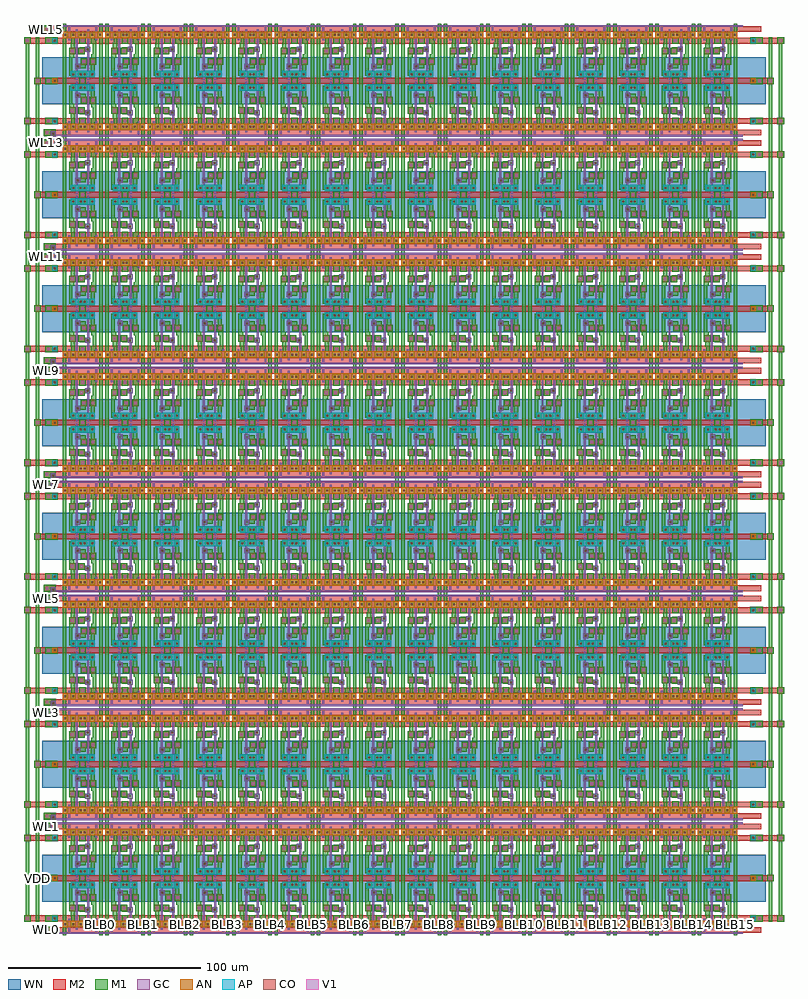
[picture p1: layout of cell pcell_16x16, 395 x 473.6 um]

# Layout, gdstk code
import gdstk
lib = gdstk.Library(unit=1e-6, precision=5e-08)
def R(c, l, rs):  # rectangles x0, y0, x1, y1
    for r in rs: c.add(gdstk.rectangle(r[:2], r[2:], *l))
def A(c, l, x, y, w, h, nx, ny, dx, dy):  # array of equal rectangles
    R(c, l, [(x+i*dx, y+j*dy, x+i*dx+w, y+j*dy+h) for i in range(nx) for j in range(ny)])
AP = (3, 1)
AN = (3, 2)
GC = (8, 1)
CO = (11, 0)
M1 = (13, 0)
V1 = (19, 0)
M2 = (20, 0)
WN = (140, 0)

fet_n = lib.new_cell('fet_n')
R(fet_n, AN, [(-3.3,-1.7,3.3,1.7)])
R(fet_n, CO, [(-2.5,-0.5,-1.5,0.5), (1.5,-0.5,2.5,0.5)])
R(fet_n, M1, [(-3.3,-1.3,-0.7,1.3), (0.7,-1.3,3.3,1.3)])
fet_n.add(gdstk.FlexPath([(0,-2.9),(0,2.9)], 1, ends="flush", simple_path=True, layer=8, datatype=1))  # GC

fet_p = lib.new_cell('fet_p')
R(fet_p, AP, [(-3.3,-1.7,3.3,1.7)])
R(fet_p, CO, [(-2.5,-0.5,-1.5,0.5), (1.5,-0.5,2.5,0.5)])
R(fet_p, M1, [(-3.3,-1.3,-0.7,1.3), (0.7,-1.3,3.3,1.3)])
fet_p.add(gdstk.FlexPath([(0,-2.9),(0,2.9)], 1, ends="flush", simple_path=True, layer=8, datatype=1))  # GC

via_1 = lib.new_cell('via_1')
R(via_1, M1, [(-1.7,-1.7,1.7,1.7)])
R(via_1, V1, [(-0.7,-0.7,0.7,0.7)])
R(via_1, M2, [(-1.7,-1.7,1.7,1.7)])

cont_g = lib.new_cell('cont_g')
R(cont_g, GC, [(-1.3,-1.3,1.3,1.3)])
R(cont_g, CO, [(-0.5,-0.5,0.5,0.5)])
R(cont_g, M1, [(-1.3,-1.3,1.3,1.3)])

pcell_core = lib.new_cell('pcell_core')
R(pcell_core, GC, [(0,-5.1,22,-4.1), (1.5,-5.1,2.5,-2.4), (15.5,-5.1,16.5,-2.4), (5.5,2.4,6.5,18), (11.5,2.4,12.5,18), (11.1,6.9,12.5,7.9), (5.5,15.9,6.9,16.9)])
R(pcell_core, M1, [(-1.3,-5.7,0.5,23.9), (17.5,-5.7,19.3,23.9), (3.1,-0.9,4.9,5.9), (8.1,-0.9,9.9,3.9), (13.1,-0.9,14.9,4.5), (14.9,1.3,15.3,2.7), (13.1,2.7,16.1,4.5), (14.3,2.7,16.1,11.9), (2.7,4.1,4.9,5.9), (2.7,4.1,4.5,11.9), (4.5,5.9,4.9,6.7), (7.5,6.5,9.3,9.3), (7.5,6.5,12.5,8.3), (10.1,8.3,10.3,8.7), (1.9,10.1,4.5,11.9), (1.9,10.1,3.7,21.3), (13.5,10.1,16.1,11.9), (13.5,10.1,15.3,18.7), (15.3,11.9,16.1,12.1), (8.7,12.9,10.5,17.3), (7.7,15.1,7.9,15.5), (5.5,15.5,10.5,17.3), (13.1,15.5,13.5,16.9), (13.1,16.9,15.3,18.7), (13.1,16.9,14.9,21.3), (14.9,18.7,15.3,19.1), (1.9,19.5,4.9,21.3), (8.1,19.5,9.9,24.8), (7.3,21.7,8.1,22.2), (9.9,21.7,10.7,22.2)])
R(pcell_core, M2, [(0,-4.5,22,-1.5), (0,1.5,22,4.5), (1.9,6.7,10.1,10.1), (7.9,12.1,16.1,15.5), (0,22.4,22,25.4)])
R(pcell_core, WN, [(-3.5,11.7,25.5,29.1)])
pcell_core.add(gdstk.Reference(fet_n, (2,0)))
pcell_core.add(gdstk.Reference(fet_n, (6,0)))
pcell_core.add(gdstk.Reference(fet_n, (12,0)))
pcell_core.add(gdstk.Reference(fet_n, (16,0)))
pcell_core.add(gdstk.Reference(fet_p, (6,20.4)))
pcell_core.add(gdstk.Reference(fet_p, (12,20.4)))
pcell_core.add(gdstk.Reference(via_1, (9,3)))
pcell_core.add(gdstk.Reference(via_1, (9,23.9)))
pcell_core.add(gdstk.Reference(via_1, (3.6,8.4)))
pcell_core.add(gdstk.Reference(via_1, (8.4,8.4)))
pcell_core.add(gdstk.Reference(cont_g, (11.6,7.4)))
pcell_core.add(gdstk.Reference(via_1, (14.4,13.8)))
pcell_core.add(gdstk.Reference(via_1, (9.6,13.8)))
pcell_core.add(gdstk.Reference(cont_g, (6.4,16.4)))

cont_n = lib.new_cell('cont_n')
R(cont_n, AN, [(-1.3,-1.3,1.3,1.3)])
R(cont_n, CO, [(-0.5,-0.5,0.5,0.5)])
R(cont_n, M1, [(-1.3,-1.3,1.3,1.3)])

cont_p = lib.new_cell('cont_p')
R(cont_p, AP, [(-1.3,-1.3,1.3,1.3)])
R(cont_p, CO, [(-0.5,-0.5,0.5,0.5)])
R(cont_p, M1, [(-1.3,-1.3,1.3,1.3)])

pcell_16x16 = lib.new_cell('pcell_16x16')
R(pcell_16x16, GC, [(-6.9,0.6,-5.9,2.5), (-6.4,0.6,0,1.6), (-6.9,56.7,-5.9,58.6), (-6.4,57.6,0,58.6), (-6.9,59.8,-5.9,61.7), (-6.4,59.8,0,60.8), (-6.9,115.9,-5.9,117.8), (-6.4,116.8,0,117.8), (-6.9,119,-5.9,120.9), (-6.4,119,0,120), (-6.9,175.1,-5.9,177), (-6.4,176,0,177), (-6.9,178.2,-5.9,180.1), (-6.4,178.2,0,179.2), (-6.9,234.3,-5.9,236.2), (-6.4,235.2,0,236.2), (-6.9,237.4,-5.9,239.3), (-6.4,237.4,0,238.4), (-6.9,293.5,-5.9,295.4), (-6.4,294.4,0,295.4), (-6.9,296.6,-5.9,298.5), (-6.4,296.6,0,297.6), (-6.9,352.7,-5.9,354.6), (-6.4,353.6,0,354.6), (-6.9,355.8,-5.9,357.7), (-6.4,355.8,0,356.8), (-6.9,411.9,-5.9,413.8), (-6.4,412.8,0,413.8), (-6.9,415,-5.9,416.9), (-6.4,415,0,416), (-6.9,471.1,-5.9,473), (-6.4,472,0,473)])
A(pcell_16x16, M1, -10.5, 7, 6.6, 3.4, 1, 3, 0, 20.9)
A(pcell_16x16, M1, 355.9, 7, 6.6, 3.4, 1, 3, 0, 20.9)
A(pcell_16x16, M1, -10.5, 66.2, 6.6, 3.4, 1, 3, 0, 20.9)
A(pcell_16x16, M1, 355.9, 66.2, 6.6, 3.4, 1, 3, 0, 20.9)
A(pcell_16x16, M1, -10.5, 125.4, 6.6, 3.4, 1, 3, 0, 20.9)
A(pcell_16x16, M1, 355.9, 125.4, 6.6, 3.4, 1, 3, 0, 20.9)
A(pcell_16x16, M1, -10.5, 184.6, 6.6, 3.4, 1, 3, 0, 20.9)
A(pcell_16x16, M1, 355.9, 184.6, 6.6, 3.4, 1, 3, 0, 20.9)
A(pcell_16x16, M1, -10.5, 243.8, 6.6, 3.4, 1, 3, 0, 20.9)
A(pcell_16x16, M1, 355.9, 243.8, 6.6, 3.4, 1, 3, 0, 20.9)
A(pcell_16x16, M1, -10.5, 303, 6.6, 3.4, 1, 3, 0, 20.9)
A(pcell_16x16, M1, 355.9, 303, 6.6, 3.4, 1, 3, 0, 20.9)
A(pcell_16x16, M1, -10.5, 362.2, 6.6, 3.4, 1, 3, 0, 20.9)
A(pcell_16x16, M1, 355.9, 362.2, 6.6, 3.4, 1, 3, 0, 20.9)
A(pcell_16x16, M1, -10.5, 421.4, 6.6, 3.4, 1, 3, 0, 20.9)
A(pcell_16x16, M1, 355.9, 421.4, 6.6, 3.4, 1, 3, 0, 20.9)
R(pcell_16x16, M1, [(-11.3,0.7,-5.1,4.4), (-20.7,7,-18.9,466.6), (-15.3,7,-13.5,466.6), (365.5,7,367.3,466.6), (370.9,7,372.7,466.6), (-11.3,54.8,-5.1,58.5), (-11.3,59.9,-5.1,63.6), (-11.3,114,-5.1,117.7), (-11.3,119.1,-5.1,122.8), (-11.3,173.2,-5.1,176.9), (-11.3,178.3,-5.1,182), (-11.3,232.4,-5.1,236.1), (-11.3,237.5,-5.1,241.2), (-11.3,291.6,-5.1,295.3), (-11.3,296.7,-5.1,300.4), (-11.3,350.8,-5.1,354.5), (-11.3,355.9,-5.1,359.6), (-11.3,410,-5.1,413.7), (-11.3,415.1,-5.1,418.8), (-11.3,469.2,-5.1,472.9)])
A(pcell_16x16, M2, -16.1, 28.1, 369.8, 3, 1, 8, 0, 59.2)
A(pcell_16x16, M2, -1.7, 28.1, 369.8, 3, 1, 8, 0, 59.2)
R(pcell_16x16, M2, [(-9.6,1.2,361.6,4.2), (-21.5,7.2,353.7,10.2), (-1.7,7.2,373.5,10.2), (-21.5,49,353.7,52), (-1.7,49,373.5,52), (-9.6,55,361.6,58), (-9.6,60.4,361.6,63.4), (-21.5,66.4,353.7,69.4), (-1.7,66.4,373.5,69.4), (-21.5,108.2,353.7,111.2), (-1.7,108.2,373.5,111.2), (-9.6,114.2,361.6,117.2), (-9.6,119.6,361.6,122.6), (-21.5,125.6,353.7,128.6), (-1.7,125.6,373.5,128.6), (-21.5,167.4,353.7,170.4), (-1.7,167.4,373.5,170.4), (-9.6,173.4,361.6,176.4), (-9.6,178.8,361.6,181.8), (-21.5,184.8,353.7,187.8), (-1.7,184.8,373.5,187.8), (-21.5,226.6,353.7,229.6), (-1.7,226.6,373.5,229.6), (-9.6,232.6,361.6,235.6), (-9.6,238,361.6,241), (-21.5,244,353.7,247), (-1.7,244,373.5,247), (-21.5,285.8,353.7,288.8), (-1.7,285.8,373.5,288.8), (-9.6,291.8,361.6,294.8), (-9.6,297.2,361.6,300.2), (-21.5,303.2,353.7,306.2), (-1.7,303.2,373.5,306.2), (-21.5,345,353.7,348), (-1.7,345,373.5,348), (-9.6,351,361.6,354), (-9.6,356.4,361.6,359.4), (-21.5,362.4,353.7,365.4), (-1.7,362.4,373.5,365.4), (-21.5,404.2,353.7,407.2), (-1.7,404.2,373.5,407.2), (-9.6,410.2,361.6,413.2), (-9.6,415.6,361.6,418.6), (-21.5,421.6,353.7,424.6), (-1.7,421.6,373.5,424.6), (-21.5,463.4,353.7,466.4), (-1.7,463.4,373.5,466.4), (-9.6,469.4,361.6,472.4)])
A(pcell_16x16, WN, -12, 17.4, 376, 24.4, 1, 8, 0, 59.2)
A(pcell_16x16, WN, 0, 17.4, 364, 24.4, 1, 8, 0, 59.2)
pcell_16x16.add(gdstk.Reference(pcell_core, (154,5.7)))
pcell_16x16.add(gdstk.Reference(pcell_core, (176,5.7)))
pcell_16x16.add(gdstk.Reference(pcell_core, (154,53.5), x_reflection=True))
pcell_16x16.add(gdstk.Reference(pcell_core, (176,53.5), x_reflection=True))
pcell_16x16.add(gdstk.Reference(pcell_core, (154,64.9)))
pcell_16x16.add(gdstk.Reference(pcell_core, (176,64.9)))
pcell_16x16.add(gdstk.Reference(pcell_core, (154,112.7), x_reflection=True))
pcell_16x16.add(gdstk.Reference(pcell_core, (176,112.7), x_reflection=True))
pcell_16x16.add(gdstk.Reference(pcell_core, (154,124.1)))
pcell_16x16.add(gdstk.Reference(pcell_core, (176,124.1)))
pcell_16x16.add(gdstk.Reference(pcell_core, (154,171.9), x_reflection=True))
pcell_16x16.add(gdstk.Reference(pcell_core, (176,171.9), x_reflection=True))
pcell_16x16.add(gdstk.Reference(pcell_core, (154,183.3)))
pcell_16x16.add(gdstk.Reference(pcell_core, (176,183.3)))
pcell_16x16.add(gdstk.Reference(pcell_core, (154,231.1), x_reflection=True))
pcell_16x16.add(gdstk.Reference(pcell_core, (176,231.1), x_reflection=True))
pcell_16x16.add(gdstk.Reference(pcell_core, (154,242.5)))
pcell_16x16.add(gdstk.Reference(pcell_core, (176,242.5)))
pcell_16x16.add(gdstk.Reference(pcell_core, (154,290.3), x_reflection=True))
pcell_16x16.add(gdstk.Reference(pcell_core, (176,290.3), x_reflection=True))
pcell_16x16.add(gdstk.Reference(pcell_core, (154,301.7)))
pcell_16x16.add(gdstk.Reference(pcell_core, (176,301.7)))
pcell_16x16.add(gdstk.Reference(pcell_core, (154,349.5), x_reflection=True))
pcell_16x16.add(gdstk.Reference(pcell_core, (176,349.5), x_reflection=True))
pcell_16x16.add(gdstk.Reference(pcell_core, (154,360.9)))
pcell_16x16.add(gdstk.Reference(pcell_core, (176,360.9)))
pcell_16x16.add(gdstk.Reference(pcell_core, (154,408.7), x_reflection=True))
pcell_16x16.add(gdstk.Reference(pcell_core, (176,408.7), x_reflection=True))
pcell_16x16.add(gdstk.Reference(pcell_core, (154,420.1)))
pcell_16x16.add(gdstk.Reference(pcell_core, (176,420.1)))
pcell_16x16.add(gdstk.Reference(pcell_core, (154,467.9), x_reflection=True))
pcell_16x16.add(gdstk.Reference(pcell_core, (176,467.9), x_reflection=True))
pcell_16x16.add(gdstk.Reference(pcell_core, (308,290.3), x_reflection=True))
pcell_16x16.add(gdstk.Reference(pcell_core, (330,290.3), x_reflection=True))
pcell_16x16.add(gdstk.Reference(pcell_core, (242,242.5)))
pcell_16x16.add(gdstk.Reference(pcell_core, (264,242.5)))
pcell_16x16.add(gdstk.Reference(pcell_core, (198,301.7)))
pcell_16x16.add(gdstk.Reference(pcell_core, (220,301.7)))
pcell_16x16.add(gdstk.Reference(pcell_core, (242,301.7)))
pcell_16x16.add(gdstk.Reference(pcell_core, (264,301.7)))
pcell_16x16.add(gdstk.Reference(pcell_core, (286,301.7)))
pcell_16x16.add(gdstk.Reference(pcell_core, (308,301.7)))
pcell_16x16.add(gdstk.Reference(pcell_core, (330,301.7)))
pcell_16x16.add(gdstk.Reference(pcell_core, (286,242.5)))
pcell_16x16.add(gdstk.Reference(pcell_core, (308,242.5)))
pcell_16x16.add(gdstk.Reference(pcell_core, (198,349.5), x_reflection=True))
pcell_16x16.add(gdstk.Reference(pcell_core, (220,349.5), x_reflection=True))
pcell_16x16.add(gdstk.Reference(pcell_core, (242,349.5), x_reflection=True))
pcell_16x16.add(gdstk.Reference(pcell_core, (264,349.5), x_reflection=True))
pcell_16x16.add(gdstk.Reference(pcell_core, (286,349.5), x_reflection=True))
pcell_16x16.add(gdstk.Reference(pcell_core, (308,349.5), x_reflection=True))
pcell_16x16.add(gdstk.Reference(pcell_core, (330,349.5), x_reflection=True))
pcell_16x16.add(gdstk.Reference(pcell_core, (330,242.5)))
pcell_16x16.add(gdstk.Reference(pcell_core, (198,242.5)))
pcell_16x16.add(gdstk.Reference(pcell_core, (198,360.9)))
pcell_16x16.add(gdstk.Reference(pcell_core, (220,360.9)))
pcell_16x16.add(gdstk.Reference(pcell_core, (242,360.9)))
pcell_16x16.add(gdstk.Reference(pcell_core, (264,360.9)))
pcell_16x16.add(gdstk.Reference(pcell_core, (286,360.9)))
pcell_16x16.add(gdstk.Reference(pcell_core, (308,360.9)))
pcell_16x16.add(gdstk.Reference(pcell_core, (330,360.9)))
pcell_16x16.add(gdstk.Reference(pcell_core, (220,242.5)))
pcell_16x16.add(gdstk.Reference(pcell_core, (198,290.3), x_reflection=True))
pcell_16x16.add(gdstk.Reference(pcell_core, (198,408.7), x_reflection=True))
pcell_16x16.add(gdstk.Reference(pcell_core, (220,408.7), x_reflection=True))
pcell_16x16.add(gdstk.Reference(pcell_core, (242,408.7), x_reflection=True))
pcell_16x16.add(gdstk.Reference(pcell_core, (264,408.7), x_reflection=True))
pcell_16x16.add(gdstk.Reference(pcell_core, (286,408.7), x_reflection=True))
pcell_16x16.add(gdstk.Reference(pcell_core, (308,408.7), x_reflection=True))
pcell_16x16.add(gdstk.Reference(pcell_core, (330,408.7), x_reflection=True))
pcell_16x16.add(gdstk.Reference(pcell_core, (220,290.3), x_reflection=True))
pcell_16x16.add(gdstk.Reference(pcell_core, (242,290.3), x_reflection=True))
pcell_16x16.add(gdstk.Reference(pcell_core, (198,420.1)))
pcell_16x16.add(gdstk.Reference(pcell_core, (220,420.1)))
pcell_16x16.add(gdstk.Reference(pcell_core, (242,420.1)))
pcell_16x16.add(gdstk.Reference(pcell_core, (264,420.1)))
pcell_16x16.add(gdstk.Reference(pcell_core, (286,420.1)))
pcell_16x16.add(gdstk.Reference(pcell_core, (308,420.1)))
pcell_16x16.add(gdstk.Reference(pcell_core, (330,420.1)))
pcell_16x16.add(gdstk.Reference(pcell_core, (264,290.3), x_reflection=True))
pcell_16x16.add(gdstk.Reference(pcell_core, (286,290.3), x_reflection=True))
pcell_16x16.add(gdstk.Reference(pcell_core, (198,467.9), x_reflection=True))
pcell_16x16.add(gdstk.Reference(pcell_core, (220,467.9), x_reflection=True))
pcell_16x16.add(gdstk.Reference(pcell_core, (242,467.9), x_reflection=True))
pcell_16x16.add(gdstk.Reference(pcell_core, (264,467.9), x_reflection=True))
pcell_16x16.add(gdstk.Reference(pcell_core, (286,467.9), x_reflection=True))
pcell_16x16.add(gdstk.Reference(pcell_core, (308,467.9), x_reflection=True))
pcell_16x16.add(gdstk.Reference(pcell_core, (330,467.9), x_reflection=True))
pcell_16x16.add(gdstk.Reference(cont_n, (357.6,266.4)))
pcell_16x16.add(gdstk.Reference(via_1, (360.8,266.4)))
pcell_16x16.add(gdstk.Reference(via_1, (366.4,266.4)))
pcell_16x16.add(gdstk.Reference(cont_n, (357.6,325.6)))
pcell_16x16.add(gdstk.Reference(via_1, (360.8,325.6)))
pcell_16x16.add(gdstk.Reference(via_1, (366.4,325.6)))
pcell_16x16.add(gdstk.Reference(cont_n, (357.6,384.8)))
pcell_16x16.add(gdstk.Reference(via_1, (360.8,384.8)))
pcell_16x16.add(gdstk.Reference(via_1, (366.4,384.8)))
pcell_16x16.add(gdstk.Reference(cont_n, (357.6,444)))
pcell_16x16.add(gdstk.Reference(via_1, (360.8,444)))
pcell_16x16.add(gdstk.Reference(via_1, (366.4,444)))
pcell_16x16.add(gdstk.Reference(cont_p, (357.6,245.5)))
pcell_16x16.add(gdstk.Reference(via_1, (360.8,245.5)))
pcell_16x16.add(gdstk.Reference(via_1, (371.8,245.5)))
pcell_16x16.add(gdstk.Reference(cont_p, (357.6,287.3)))
pcell_16x16.add(gdstk.Reference(via_1, (360.8,287.3)))
pcell_16x16.add(gdstk.Reference(via_1, (371.8,287.3)))
pcell_16x16.add(gdstk.Reference(cont_p, (357.6,304.7)))
pcell_16x16.add(gdstk.Reference(via_1, (360.8,304.7)))
pcell_16x16.add(gdstk.Reference(via_1, (371.8,304.7)))
pcell_16x16.add(gdstk.Reference(cont_p, (357.6,346.5)))
pcell_16x16.add(gdstk.Reference(via_1, (360.8,346.5)))
pcell_16x16.add(gdstk.Reference(via_1, (371.8,346.5)))
pcell_16x16.add(gdstk.Reference(cont_p, (357.6,363.9)))
pcell_16x16.add(gdstk.Reference(via_1, (360.8,363.9)))
pcell_16x16.add(gdstk.Reference(via_1, (371.8,363.9)))
pcell_16x16.add(gdstk.Reference(cont_p, (357.6,405.7)))
pcell_16x16.add(gdstk.Reference(via_1, (360.8,405.7)))
pcell_16x16.add(gdstk.Reference(via_1, (371.8,405.7)))
pcell_16x16.add(gdstk.Reference(cont_p, (357.6,423.1)))
pcell_16x16.add(gdstk.Reference(via_1, (360.8,423.1)))
pcell_16x16.add(gdstk.Reference(via_1, (371.8,423.1)))
pcell_16x16.add(gdstk.Reference(cont_p, (357.6,464.9)))
pcell_16x16.add(gdstk.Reference(via_1, (360.8,464.9)))
pcell_16x16.add(gdstk.Reference(via_1, (371.8,464.9)))
pcell_16x16.add(gdstk.Reference(pcell_core, (66,420.1)))
pcell_16x16.add(gdstk.Reference(pcell_core, (66,349.5), x_reflection=True))
pcell_16x16.add(gdstk.Reference(pcell_core, (66,467.9), x_reflection=True))
pcell_16x16.add(gdstk.Reference(pcell_core, (66,360.9)))
pcell_16x16.add(gdstk.Reference(pcell_core, (66,301.7)))
pcell_16x16.add(gdstk.Reference(pcell_core, (66,408.7), x_reflection=True))
pcell_16x16.add(gdstk.Reference(pcell_core, (66,290.3), x_reflection=True))
pcell_16x16.add(gdstk.Reference(pcell_core, (66,242.5)))
pcell_16x16.add(gdstk.Reference(pcell_core, (132,467.9), x_reflection=True))
pcell_16x16.add(gdstk.Reference(pcell_core, (132,420.1)))
pcell_16x16.add(gdstk.Reference(pcell_core, (88,360.9)))
pcell_16x16.add(gdstk.Reference(pcell_core, (110,360.9)))
pcell_16x16.add(gdstk.Reference(pcell_core, (132,360.9)))
pcell_16x16.add(gdstk.Reference(pcell_core, (88,420.1)))
pcell_16x16.add(gdstk.Reference(pcell_core, (110,420.1)))
pcell_16x16.add(gdstk.Reference(pcell_core, (88,408.7), x_reflection=True))
pcell_16x16.add(gdstk.Reference(pcell_core, (110,408.7), x_reflection=True))
pcell_16x16.add(gdstk.Reference(pcell_core, (132,408.7), x_reflection=True))
pcell_16x16.add(gdstk.Reference(pcell_core, (88,467.9), x_reflection=True))
pcell_16x16.add(gdstk.Reference(pcell_core, (110,467.9), x_reflection=True))
pcell_16x16.add(gdstk.Reference(via_1, (-8.8,384.8)))
pcell_16x16.add(gdstk.Reference(via_1, (-14.4,384.8)))
pcell_16x16.add(gdstk.Reference(cont_n, (-5.6,444)))
pcell_16x16.add(gdstk.Reference(via_1, (-8.8,444)))
pcell_16x16.add(gdstk.Reference(via_1, (-14.4,444)))
pcell_16x16.add(gdstk.Reference(cont_p, (-5.6,363.9)))
pcell_16x16.add(gdstk.Reference(via_1, (-8.8,363.9)))
pcell_16x16.add(gdstk.Reference(via_1, (-19.8,363.9)))
pcell_16x16.add(gdstk.Reference(cont_p, (-5.6,405.7)))
pcell_16x16.add(gdstk.Reference(via_1, (-8.8,405.7)))
pcell_16x16.add(gdstk.Reference(via_1, (-19.8,405.7)))
pcell_16x16.add(gdstk.Reference(cont_p, (-5.6,423.1)))
pcell_16x16.add(gdstk.Reference(via_1, (-8.8,423.1)))
pcell_16x16.add(gdstk.Reference(via_1, (-19.8,423.1)))
pcell_16x16.add(gdstk.Reference(cont_p, (-5.6,464.9)))
pcell_16x16.add(gdstk.Reference(via_1, (-8.8,464.9)))
pcell_16x16.add(gdstk.Reference(via_1, (-19.8,464.9)))
pcell_16x16.add(gdstk.Reference(pcell_core, (0,360.9)))
pcell_16x16.add(gdstk.Reference(pcell_core, (22,360.9)))
pcell_16x16.add(gdstk.Reference(pcell_core, (44,360.9)))
pcell_16x16.add(gdstk.Reference(via_1, (-9.6,417.1)))
pcell_16x16.add(gdstk.Reference(pcell_core, (0,467.9), x_reflection=True))
pcell_16x16.add(gdstk.Reference(pcell_core, (22,467.9), x_reflection=True))
pcell_16x16.add(gdstk.Reference(pcell_core, (44,467.9), x_reflection=True))
pcell_16x16.add(gdstk.Reference(pcell_core, (44,420.1)))
pcell_16x16.add(gdstk.Reference(cont_g, (-6.4,357.2)))
pcell_16x16.add(gdstk.Reference(via_1, (-9.6,357.9)))
pcell_16x16.add(gdstk.Reference(pcell_core, (0,408.7), x_reflection=True))
pcell_16x16.add(gdstk.Reference(pcell_core, (22,408.7), x_reflection=True))
pcell_16x16.add(gdstk.Reference(pcell_core, (44,408.7), x_reflection=True))
pcell_16x16.add(gdstk.Reference(pcell_core, (0,420.1)))
pcell_16x16.add(gdstk.Reference(pcell_core, (22,420.1)))
pcell_16x16.add(gdstk.Reference(cont_g, (-6.4,416.4)))
pcell_16x16.add(gdstk.Reference(cont_g, (-6.4,471.6)))
pcell_16x16.add(gdstk.Reference(via_1, (-9.6,470.9)))
pcell_16x16.add(gdstk.Reference(cont_n, (-5.6,384.8)))
pcell_16x16.add(gdstk.Reference(cont_g, (-6.4,412.4)))
pcell_16x16.add(gdstk.Reference(via_1, (-9.6,411.7)))
pcell_16x16.add(gdstk.Reference(pcell_core, (44,349.5), x_reflection=True))
pcell_16x16.add(gdstk.Reference(cont_n, (-5.6,266.4)))
pcell_16x16.add(gdstk.Reference(via_1, (-8.8,266.4)))
pcell_16x16.add(gdstk.Reference(via_1, (-14.4,266.4)))
pcell_16x16.add(gdstk.Reference(cont_n, (-5.6,325.6)))
pcell_16x16.add(gdstk.Reference(via_1, (-8.8,325.6)))
pcell_16x16.add(gdstk.Reference(via_1, (-14.4,325.6)))
pcell_16x16.add(gdstk.Reference(pcell_core, (0,349.5), x_reflection=True))
pcell_16x16.add(gdstk.Reference(pcell_core, (0,242.5)))
pcell_16x16.add(gdstk.Reference(pcell_core, (22,242.5)))
pcell_16x16.add(gdstk.Reference(cont_g, (-6.4,238.8)))
pcell_16x16.add(gdstk.Reference(via_1, (-9.6,239.5)))
pcell_16x16.add(gdstk.Reference(cont_g, (-6.4,294)))
pcell_16x16.add(gdstk.Reference(cont_p, (-5.6,245.5)))
pcell_16x16.add(gdstk.Reference(via_1, (-8.8,245.5)))
pcell_16x16.add(gdstk.Reference(pcell_core, (0,301.7)))
pcell_16x16.add(gdstk.Reference(pcell_core, (22,301.7)))
pcell_16x16.add(gdstk.Reference(pcell_core, (44,301.7)))
pcell_16x16.add(gdstk.Reference(via_1, (-19.8,245.5)))
pcell_16x16.add(gdstk.Reference(pcell_core, (0,290.3), x_reflection=True))
pcell_16x16.add(gdstk.Reference(pcell_core, (22,290.3), x_reflection=True))
pcell_16x16.add(gdstk.Reference(cont_p, (-5.6,287.3)))
pcell_16x16.add(gdstk.Reference(via_1, (-8.8,287.3)))
pcell_16x16.add(gdstk.Reference(via_1, (-19.8,287.3)))
pcell_16x16.add(gdstk.Reference(cont_p, (-5.6,304.7)))
pcell_16x16.add(gdstk.Reference(via_1, (-8.8,304.7)))
pcell_16x16.add(gdstk.Reference(via_1, (-19.8,304.7)))
pcell_16x16.add(gdstk.Reference(cont_p, (-5.6,346.5)))
pcell_16x16.add(gdstk.Reference(via_1, (-8.8,346.5)))
pcell_16x16.add(gdstk.Reference(via_1, (-19.8,346.5)))
pcell_16x16.add(gdstk.Reference(pcell_core, (44,290.3), x_reflection=True))
pcell_16x16.add(gdstk.Reference(via_1, (-9.6,293.3)))
pcell_16x16.add(gdstk.Reference(pcell_core, (44,242.5)))
pcell_16x16.add(gdstk.Reference(cont_g, (-6.4,353.2)))
pcell_16x16.add(gdstk.Reference(cont_g, (-6.4,298)))
pcell_16x16.add(gdstk.Reference(via_1, (-9.6,298.7)))
pcell_16x16.add(gdstk.Reference(via_1, (-9.6,352.5)))
pcell_16x16.add(gdstk.Reference(pcell_core, (22,349.5), x_reflection=True))
pcell_16x16.add(gdstk.Reference(pcell_core, (88,242.5)))
pcell_16x16.add(gdstk.Reference(pcell_core, (132,242.5)))
pcell_16x16.add(gdstk.Reference(pcell_core, (110,242.5)))
pcell_16x16.add(gdstk.Reference(pcell_core, (88,290.3), x_reflection=True))
pcell_16x16.add(gdstk.Reference(pcell_core, (110,290.3), x_reflection=True))
pcell_16x16.add(gdstk.Reference(pcell_core, (132,290.3), x_reflection=True))
pcell_16x16.add(gdstk.Reference(pcell_core, (88,349.5), x_reflection=True))
pcell_16x16.add(gdstk.Reference(pcell_core, (110,349.5), x_reflection=True))
pcell_16x16.add(gdstk.Reference(pcell_core, (88,301.7)))
pcell_16x16.add(gdstk.Reference(pcell_core, (110,301.7)))
pcell_16x16.add(gdstk.Reference(pcell_core, (132,301.7)))
pcell_16x16.add(gdstk.Reference(pcell_core, (132,349.5), x_reflection=True))
pcell_16x16.add(gdstk.Reference(pcell_core, (66,5.7)))
pcell_16x16.add(gdstk.Reference(pcell_core, (66,64.9)))
pcell_16x16.add(gdstk.Reference(pcell_core, (66,112.7), x_reflection=True))
pcell_16x16.add(gdstk.Reference(pcell_core, (66,124.1)))
pcell_16x16.add(gdstk.Reference(pcell_core, (66,171.9), x_reflection=True))
pcell_16x16.add(gdstk.Reference(pcell_core, (66,183.3)))
pcell_16x16.add(gdstk.Reference(pcell_core, (66,231.1), x_reflection=True))
pcell_16x16.add(gdstk.Reference(pcell_core, (66,53.5), x_reflection=True))
pcell_16x16.add(gdstk.Reference(pcell_core, (88,171.9), x_reflection=True))
pcell_16x16.add(gdstk.Reference(pcell_core, (110,171.9), x_reflection=True))
pcell_16x16.add(gdstk.Reference(pcell_core, (132,171.9), x_reflection=True))
pcell_16x16.add(gdstk.Reference(pcell_core, (110,124.1)))
pcell_16x16.add(gdstk.Reference(pcell_core, (88,183.3)))
pcell_16x16.add(gdstk.Reference(pcell_core, (110,183.3)))
pcell_16x16.add(gdstk.Reference(pcell_core, (132,183.3)))
pcell_16x16.add(gdstk.Reference(pcell_core, (132,124.1)))
pcell_16x16.add(gdstk.Reference(pcell_core, (88,231.1), x_reflection=True))
pcell_16x16.add(gdstk.Reference(pcell_core, (110,231.1), x_reflection=True))
pcell_16x16.add(gdstk.Reference(pcell_core, (132,231.1), x_reflection=True))
pcell_16x16.add(gdstk.Reference(pcell_core, (88,124.1)))
pcell_16x16.add(gdstk.Reference(via_1, (-14.4,148)))
pcell_16x16.add(gdstk.Reference(pcell_core, (0,124.1)))
pcell_16x16.add(gdstk.Reference(pcell_core, (22,124.1)))
pcell_16x16.add(gdstk.Reference(pcell_core, (44,124.1)))
pcell_16x16.add(gdstk.Reference(cont_n, (-5.6,207.2)))
pcell_16x16.add(gdstk.Reference(via_1, (-8.8,207.2)))
pcell_16x16.add(gdstk.Reference(via_1, (-14.4,207.2)))
pcell_16x16.add(gdstk.Reference(cont_n, (-5.6,148)))
pcell_16x16.add(gdstk.Reference(cont_g, (-6.4,120.4)))
pcell_16x16.add(gdstk.Reference(via_1, (-9.6,121.1)))
pcell_16x16.add(gdstk.Reference(pcell_core, (0,171.9), x_reflection=True))
pcell_16x16.add(gdstk.Reference(pcell_core, (22,171.9), x_reflection=True))
pcell_16x16.add(gdstk.Reference(pcell_core, (44,171.9), x_reflection=True))
pcell_16x16.add(gdstk.Reference(via_1, (-8.8,148)))
pcell_16x16.add(gdstk.Reference(cont_p, (-5.6,127.1)))
pcell_16x16.add(gdstk.Reference(via_1, (-8.8,127.1)))
pcell_16x16.add(gdstk.Reference(via_1, (-19.8,127.1)))
pcell_16x16.add(gdstk.Reference(cont_g, (-6.4,175.6)))
pcell_16x16.add(gdstk.Reference(via_1, (-9.6,174.9)))
pcell_16x16.add(gdstk.Reference(pcell_core, (0,183.3)))
pcell_16x16.add(gdstk.Reference(pcell_core, (22,183.3)))
pcell_16x16.add(gdstk.Reference(pcell_core, (44,183.3)))
pcell_16x16.add(gdstk.Reference(cont_p, (-5.6,168.9)))
pcell_16x16.add(gdstk.Reference(via_1, (-8.8,168.9)))
pcell_16x16.add(gdstk.Reference(via_1, (-19.8,168.9)))
pcell_16x16.add(gdstk.Reference(cont_p, (-5.6,186.3)))
pcell_16x16.add(gdstk.Reference(cont_g, (-6.4,179.6)))
pcell_16x16.add(gdstk.Reference(via_1, (-9.6,180.3)))
pcell_16x16.add(gdstk.Reference(pcell_core, (0,231.1), x_reflection=True))
pcell_16x16.add(gdstk.Reference(pcell_core, (22,231.1), x_reflection=True))
pcell_16x16.add(gdstk.Reference(pcell_core, (44,231.1), x_reflection=True))
pcell_16x16.add(gdstk.Reference(via_1, (-8.8,186.3)))
pcell_16x16.add(gdstk.Reference(via_1, (-19.8,186.3)))
pcell_16x16.add(gdstk.Reference(cont_p, (-5.6,228.1)))
pcell_16x16.add(gdstk.Reference(via_1, (-8.8,228.1)))
pcell_16x16.add(gdstk.Reference(via_1, (-19.8,228.1)))
pcell_16x16.add(gdstk.Reference(cont_g, (-6.4,234.8)))
pcell_16x16.add(gdstk.Reference(via_1, (-9.6,234.1)))
pcell_16x16.add(gdstk.Reference(cont_p, (-5.6,67.9)))
pcell_16x16.add(gdstk.Reference(via_1, (-8.8,67.9)))
pcell_16x16.add(gdstk.Reference(pcell_core, (22,5.7)))
pcell_16x16.add(gdstk.Reference(cont_g, (-6.4,2)))
pcell_16x16.add(gdstk.Reference(via_1, (-19.8,67.9)))
pcell_16x16.add(gdstk.Reference(cont_p, (-5.6,109.7)))
pcell_16x16.add(gdstk.Reference(via_1, (-8.8,109.7)))
pcell_16x16.add(gdstk.Reference(via_1, (-19.8,109.7)))
pcell_16x16.add(gdstk.Reference(via_1, (-14.4,29.6)))
pcell_16x16.add(gdstk.Reference(cont_n, (-5.6,88.8)))
pcell_16x16.add(gdstk.Reference(via_1, (-8.8,88.8)))
pcell_16x16.add(gdstk.Reference(via_1, (-14.4,88.8)))
pcell_16x16.add(gdstk.Reference(pcell_core, (44,5.7)))
pcell_16x16.add(gdstk.Reference(via_1, (-9.6,2.7)))
pcell_16x16.add(gdstk.Reference(pcell_core, (0,53.5), x_reflection=True))
pcell_16x16.add(gdstk.Reference(cont_n, (-5.6,29.6)))
pcell_16x16.add(gdstk.Reference(cont_g, (-6.4,57.2)))
pcell_16x16.add(gdstk.Reference(via_1, (-9.6,56.5)))
pcell_16x16.add(gdstk.Reference(pcell_core, (0,64.9)))
pcell_16x16.add(gdstk.Reference(pcell_core, (22,64.9)))
pcell_16x16.add(gdstk.Reference(pcell_core, (44,64.9)))
pcell_16x16.add(gdstk.Reference(via_1, (-8.8,29.6)))
pcell_16x16.add(gdstk.Reference(cont_g, (-6.4,61.2)))
pcell_16x16.add(gdstk.Reference(via_1, (-9.6,61.9)))
pcell_16x16.add(gdstk.Reference(pcell_core, (22,53.5), x_reflection=True))
pcell_16x16.add(gdstk.Reference(pcell_core, (44,53.5), x_reflection=True))
pcell_16x16.add(gdstk.Reference(pcell_core, (0,112.7), x_reflection=True))
pcell_16x16.add(gdstk.Reference(pcell_core, (22,112.7), x_reflection=True))
pcell_16x16.add(gdstk.Reference(pcell_core, (44,112.7), x_reflection=True))
pcell_16x16.add(gdstk.Reference(cont_p, (-5.6,8.7)))
pcell_16x16.add(gdstk.Reference(pcell_core, (0,5.7)))
pcell_16x16.add(gdstk.Reference(cont_g, (-6.4,116.4)))
pcell_16x16.add(gdstk.Reference(via_1, (-9.6,115.7)))
pcell_16x16.add(gdstk.Reference(via_1, (-8.8,8.7)))
pcell_16x16.add(gdstk.Reference(via_1, (-19.8,8.7)))
pcell_16x16.add(gdstk.Reference(cont_p, (-5.6,50.5)))
pcell_16x16.add(gdstk.Reference(via_1, (-8.8,50.5)))
pcell_16x16.add(gdstk.Reference(via_1, (-19.8,50.5)))
pcell_16x16.add(gdstk.Reference(pcell_core, (132,53.5), x_reflection=True))
pcell_16x16.add(gdstk.Reference(pcell_core, (88,64.9)))
pcell_16x16.add(gdstk.Reference(pcell_core, (110,64.9)))
pcell_16x16.add(gdstk.Reference(pcell_core, (132,64.9)))
pcell_16x16.add(gdstk.Reference(pcell_core, (88,5.7)))
pcell_16x16.add(gdstk.Reference(pcell_core, (88,112.7), x_reflection=True))
pcell_16x16.add(gdstk.Reference(pcell_core, (110,112.7), x_reflection=True))
pcell_16x16.add(gdstk.Reference(pcell_core, (132,112.7), x_reflection=True))
pcell_16x16.add(gdstk.Reference(pcell_core, (132,5.7)))
pcell_16x16.add(gdstk.Reference(pcell_core, (88,53.5), x_reflection=True))
pcell_16x16.add(gdstk.Reference(pcell_core, (110,5.7)))
pcell_16x16.add(gdstk.Reference(pcell_core, (110,53.5), x_reflection=True))
pcell_16x16.add(gdstk.Reference(pcell_core, (220,64.9)))
pcell_16x16.add(gdstk.Reference(pcell_core, (198,183.3)))
pcell_16x16.add(gdstk.Reference(pcell_core, (220,183.3)))
pcell_16x16.add(gdstk.Reference(pcell_core, (242,183.3)))
pcell_16x16.add(gdstk.Reference(pcell_core, (264,183.3)))
pcell_16x16.add(gdstk.Reference(pcell_core, (286,183.3)))
pcell_16x16.add(gdstk.Reference(pcell_core, (308,183.3)))
pcell_16x16.add(gdstk.Reference(pcell_core, (330,183.3)))
pcell_16x16.add(gdstk.Reference(pcell_core, (242,64.9)))
pcell_16x16.add(gdstk.Reference(pcell_core, (264,64.9)))
pcell_16x16.add(gdstk.Reference(pcell_core, (286,64.9)))
pcell_16x16.add(gdstk.Reference(pcell_core, (308,64.9)))
pcell_16x16.add(gdstk.Reference(pcell_core, (330,64.9)))
pcell_16x16.add(gdstk.Reference(pcell_core, (286,53.5), x_reflection=True))
pcell_16x16.add(gdstk.Reference(pcell_core, (198,124.1)))
pcell_16x16.add(gdstk.Reference(pcell_core, (220,124.1)))
pcell_16x16.add(gdstk.Reference(pcell_core, (242,124.1)))
pcell_16x16.add(gdstk.Reference(pcell_core, (264,124.1)))
pcell_16x16.add(gdstk.Reference(pcell_core, (286,124.1)))
pcell_16x16.add(gdstk.Reference(pcell_core, (198,231.1), x_reflection=True))
pcell_16x16.add(gdstk.Reference(cont_n, (357.6,29.6)))
pcell_16x16.add(gdstk.Reference(via_1, (360.8,29.6)))
pcell_16x16.add(gdstk.Reference(via_1, (366.4,29.6)))
pcell_16x16.add(gdstk.Reference(cont_n, (357.6,88.8)))
pcell_16x16.add(gdstk.Reference(via_1, (360.8,88.8)))
pcell_16x16.add(gdstk.Reference(via_1, (366.4,88.8)))
pcell_16x16.add(gdstk.Reference(cont_n, (357.6,148)))
pcell_16x16.add(gdstk.Reference(via_1, (360.8,148)))
pcell_16x16.add(gdstk.Reference(via_1, (366.4,148)))
pcell_16x16.add(gdstk.Reference(cont_n, (357.6,207.2)))
pcell_16x16.add(gdstk.Reference(via_1, (360.8,207.2)))
pcell_16x16.add(gdstk.Reference(via_1, (366.4,207.2)))
pcell_16x16.add(gdstk.Reference(pcell_core, (220,231.1), x_reflection=True))
pcell_16x16.add(gdstk.Reference(pcell_core, (242,231.1), x_reflection=True))
pcell_16x16.add(gdstk.Reference(pcell_core, (264,231.1), x_reflection=True))
pcell_16x16.add(gdstk.Reference(pcell_core, (286,231.1), x_reflection=True))
pcell_16x16.add(gdstk.Reference(pcell_core, (308,231.1), x_reflection=True))
pcell_16x16.add(gdstk.Reference(pcell_core, (330,231.1), x_reflection=True))
pcell_16x16.add(gdstk.Reference(pcell_core, (308,124.1)))
pcell_16x16.add(gdstk.Reference(pcell_core, (330,124.1)))
pcell_16x16.add(gdstk.Reference(pcell_core, (308,53.5), x_reflection=True))
pcell_16x16.add(gdstk.Reference(pcell_core, (330,53.5), x_reflection=True))
pcell_16x16.add(gdstk.Reference(pcell_core, (286,5.7)))
pcell_16x16.add(gdstk.Reference(pcell_core, (308,5.7)))
pcell_16x16.add(gdstk.Reference(cont_p, (357.6,8.7)))
pcell_16x16.add(gdstk.Reference(via_1, (360.8,8.7)))
pcell_16x16.add(gdstk.Reference(via_1, (371.8,8.7)))
pcell_16x16.add(gdstk.Reference(cont_p, (357.6,50.5)))
pcell_16x16.add(gdstk.Reference(via_1, (360.8,50.5)))
pcell_16x16.add(gdstk.Reference(via_1, (371.8,50.5)))
pcell_16x16.add(gdstk.Reference(cont_p, (357.6,67.9)))
pcell_16x16.add(gdstk.Reference(via_1, (360.8,67.9)))
pcell_16x16.add(gdstk.Reference(via_1, (371.8,67.9)))
pcell_16x16.add(gdstk.Reference(cont_p, (357.6,109.7)))
pcell_16x16.add(gdstk.Reference(via_1, (360.8,109.7)))
pcell_16x16.add(gdstk.Reference(via_1, (371.8,109.7)))
pcell_16x16.add(gdstk.Reference(cont_p, (357.6,127.1)))
pcell_16x16.add(gdstk.Reference(via_1, (360.8,127.1)))
pcell_16x16.add(gdstk.Reference(via_1, (371.8,127.1)))
pcell_16x16.add(gdstk.Reference(cont_p, (357.6,168.9)))
pcell_16x16.add(gdstk.Reference(via_1, (360.8,168.9)))
pcell_16x16.add(gdstk.Reference(via_1, (371.8,168.9)))
pcell_16x16.add(gdstk.Reference(cont_p, (357.6,186.3)))
pcell_16x16.add(gdstk.Reference(via_1, (360.8,186.3)))
pcell_16x16.add(gdstk.Reference(via_1, (371.8,186.3)))
pcell_16x16.add(gdstk.Reference(cont_p, (357.6,228.1)))
pcell_16x16.add(gdstk.Reference(via_1, (360.8,228.1)))
pcell_16x16.add(gdstk.Reference(via_1, (371.8,228.1)))
pcell_16x16.add(gdstk.Reference(pcell_core, (330,5.7)))
pcell_16x16.add(gdstk.Reference(pcell_core, (198,5.7)))
pcell_16x16.add(gdstk.Reference(pcell_core, (220,5.7)))
pcell_16x16.add(gdstk.Reference(pcell_core, (242,5.7)))
pcell_16x16.add(gdstk.Reference(pcell_core, (264,5.7)))
pcell_16x16.add(gdstk.Reference(pcell_core, (198,53.5), x_reflection=True))
pcell_16x16.add(gdstk.Reference(pcell_core, (198,112.7), x_reflection=True))
pcell_16x16.add(gdstk.Reference(pcell_core, (198,171.9), x_reflection=True))
pcell_16x16.add(gdstk.Reference(pcell_core, (220,171.9), x_reflection=True))
pcell_16x16.add(gdstk.Reference(pcell_core, (242,171.9), x_reflection=True))
pcell_16x16.add(gdstk.Reference(pcell_core, (264,171.9), x_reflection=True))
pcell_16x16.add(gdstk.Reference(pcell_core, (286,171.9), x_reflection=True))
pcell_16x16.add(gdstk.Reference(pcell_core, (308,171.9), x_reflection=True))
pcell_16x16.add(gdstk.Reference(pcell_core, (330,171.9), x_reflection=True))
pcell_16x16.add(gdstk.Reference(pcell_core, (220,112.7), x_reflection=True))
pcell_16x16.add(gdstk.Reference(pcell_core, (242,112.7), x_reflection=True))
pcell_16x16.add(gdstk.Reference(pcell_core, (264,112.7), x_reflection=True))
pcell_16x16.add(gdstk.Reference(pcell_core, (286,112.7), x_reflection=True))
pcell_16x16.add(gdstk.Reference(pcell_core, (308,112.7), x_reflection=True))
pcell_16x16.add(gdstk.Reference(pcell_core, (330,112.7), x_reflection=True))
pcell_16x16.add(gdstk.Reference(pcell_core, (220,53.5), x_reflection=True))
pcell_16x16.add(gdstk.Reference(pcell_core, (242,53.5), x_reflection=True))
pcell_16x16.add(gdstk.Reference(pcell_core, (264,53.5), x_reflection=True))
pcell_16x16.add(gdstk.Reference(pcell_core, (198,64.9)))
pcell_16x16.add(gdstk.Label('WL0', (-9.6,2.7), layer=49, texttype=0))
pcell_16x16.add(gdstk.Label('WL1', (-9.6,56.5), layer=49, texttype=0))
pcell_16x16.add(gdstk.Label('WL2', (-9.6,61.9), layer=49, texttype=0))
pcell_16x16.add(gdstk.Label('WL3', (-9.6,115.7), layer=49, texttype=0))
pcell_16x16.add(gdstk.Label('WL4', (-9.6,121.1), layer=49, texttype=0))
pcell_16x16.add(gdstk.Label('WL5', (-9.6,174.9), layer=49, texttype=0))
pcell_16x16.add(gdstk.Label('WL6', (-9.6,180.3), layer=49, texttype=0))
pcell_16x16.add(gdstk.Label('WL7', (-9.6,234.1), layer=49, texttype=0))
pcell_16x16.add(gdstk.Label('WL8', (-9.6,239.5), layer=49, texttype=0))
pcell_16x16.add(gdstk.Label('WL9', (-9.6,293.3), layer=49, texttype=0))
pcell_16x16.add(gdstk.Label('WL10', (-9.6,298.7), layer=49, texttype=0))
pcell_16x16.add(gdstk.Label('WL11', (-9.6,352.5), layer=49, texttype=0))
pcell_16x16.add(gdstk.Label('WL12', (-9.6,357.9), layer=49, texttype=0))
pcell_16x16.add(gdstk.Label('WL13', (-9.6,411.7), layer=49, texttype=0))
pcell_16x16.add(gdstk.Label('WL14', (-9.6,417.1), layer=49, texttype=0))
pcell_16x16.add(gdstk.Label('WL15', (-9.6,470.9), layer=49, texttype=0))
pcell_16x16.add(gdstk.Label('VDD', (-14.4,29.6), layer=48, texttype=0))
pcell_16x16.add(gdstk.Label('VSS', (-19.8,8.7), layer=48, texttype=0))
pcell_16x16.add(gdstk.Label('BL0', (-0.4,5.7), layer=48, texttype=0))
pcell_16x16.add(gdstk.Label('BLB0', (18.4,5.7), layer=48, texttype=0))
pcell_16x16.add(gdstk.Label('BL1', (21.6,5.7), layer=48, texttype=0))
pcell_16x16.add(gdstk.Label('BLB1', (40.4,5.7), layer=48, texttype=0))
pcell_16x16.add(gdstk.Label('BL2', (43.6,5.7), layer=48, texttype=0))
pcell_16x16.add(gdstk.Label('BLB2', (62.4,5.7), layer=48, texttype=0))
pcell_16x16.add(gdstk.Label('BL3', (65.6,5.7), layer=48, texttype=0))
pcell_16x16.add(gdstk.Label('BLB3', (84.4,5.7), layer=48, texttype=0))
pcell_16x16.add(gdstk.Label('BL4', (87.6,5.7), layer=48, texttype=0))
pcell_16x16.add(gdstk.Label('BLB4', (106.4,5.7), layer=48, texttype=0))
pcell_16x16.add(gdstk.Label('BL5', (109.6,5.7), layer=48, texttype=0))
pcell_16x16.add(gdstk.Label('BLB5', (128.4,5.7), layer=48, texttype=0))
pcell_16x16.add(gdstk.Label('BL6', (131.6,5.7), layer=48, texttype=0))
pcell_16x16.add(gdstk.Label('BLB6', (150.4,5.7), layer=48, texttype=0))
pcell_16x16.add(gdstk.Label('BL7', (153.6,5.7), layer=48, texttype=0))
pcell_16x16.add(gdstk.Label('BLB7', (172.4,5.7), layer=48, texttype=0))
pcell_16x16.add(gdstk.Label('BL8', (175.6,5.7), layer=48, texttype=0))
pcell_16x16.add(gdstk.Label('BLB8', (194.4,5.7), layer=48, texttype=0))
pcell_16x16.add(gdstk.Label('BL9', (197.6,5.7), layer=48, texttype=0))
pcell_16x16.add(gdstk.Label('BLB9', (216.4,5.7), layer=48, texttype=0))
pcell_16x16.add(gdstk.Label('BL10', (219.6,5.7), layer=48, texttype=0))
pcell_16x16.add(gdstk.Label('BLB10', (238.4,5.7), layer=48, texttype=0))
pcell_16x16.add(gdstk.Label('BL11', (241.6,5.7), layer=48, texttype=0))
pcell_16x16.add(gdstk.Label('BLB11', (260.4,5.7), layer=48, texttype=0))
pcell_16x16.add(gdstk.Label('BL12', (263.6,5.7), layer=48, texttype=0))
pcell_16x16.add(gdstk.Label('BLB12', (282.4,5.7), layer=48, texttype=0))
pcell_16x16.add(gdstk.Label('BL13', (285.6,5.7), layer=48, texttype=0))
pcell_16x16.add(gdstk.Label('BLB13', (304.4,5.7), layer=48, texttype=0))
pcell_16x16.add(gdstk.Label('BL14', (307.6,5.7), layer=48, texttype=0))
pcell_16x16.add(gdstk.Label('BLB14', (326.4,5.7), layer=48, texttype=0))
pcell_16x16.add(gdstk.Label('BL15', (329.6,5.7), layer=48, texttype=0))
pcell_16x16.add(gdstk.Label('BLB15', (348.4,5.7), layer=48, texttype=0))

lib.write_gds('pcell_16x16.gds')
